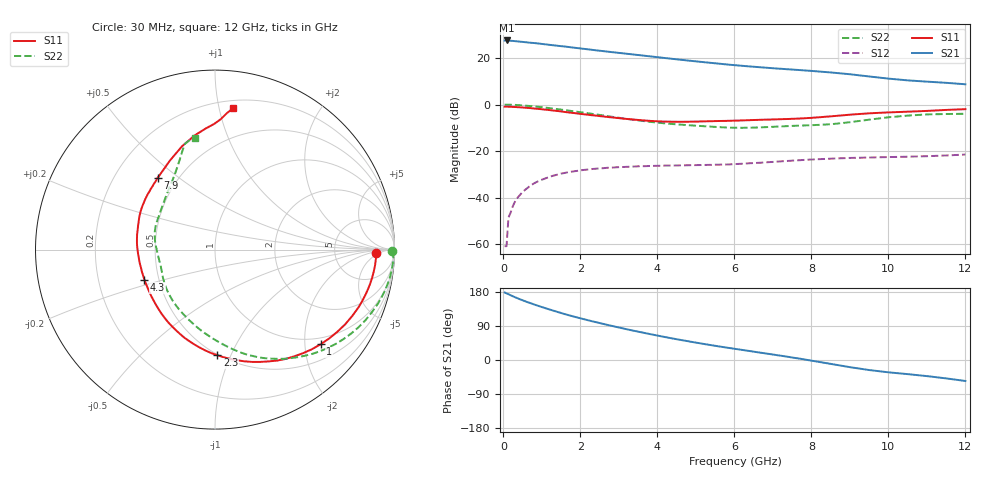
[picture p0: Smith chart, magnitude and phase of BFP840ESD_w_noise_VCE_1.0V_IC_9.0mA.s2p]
! Infineon Technologies  Discrete & RF Semiconductors
! BFP840ESD
! VCE =  1.0 V,  IC =  9.0 mA
! Common Emitter S-Parameters:  May 2012
# GHz  S  MA  R  50
!  f  S11  S21  S12  S22
! GHz  MAG  ANG  MAG  ANG  MAG  ANG  MAG  ANG
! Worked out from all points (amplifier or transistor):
!   93 points, 30 MHz to 12 GHz, reference 50 ohm
!   highest |S21| = 27.5 dB at 80 MHz (marker M1)
!   |S21| within 3 dB of that: start of sweep to 1.784 GHz
!   unconditionally stable (mu >= 1): 5.542 GHz to 10.39 GHz
!   at 1.1 GHz: K = 0.25, MSG = 28.8 dB, |S12| = -31.7 dB
!   at 4.2 GHz: K = 0.79, MSG = 23.1 dB, |S12| = -26.3 dB
!   at 12 GHz: K = 0.77, MSG = 15.1 dB, |S12| = -21.5 dB
!   lowest NFmin = 0.77 dB at 450 MHz
!   S11 on the Smith chart (normalised r, x): 30 MHz: 18, -4; 1 GHz: 0.84, -2.36; 2.3 GHz: 0.49, -0.89; 4.3 GHz: 0.41, -0.17; 7.9 GHz: 0.39, +0.42; 12 GHz: 0.26, +1.10
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0.03  0.8984 -1.3  23.65 178.2  0.0009 93.4  0.9878 -0.5
0.08  0.898 -3.4  23.83 175.8  0.0009 114.2  0.9944 -2.6
0.13  0.8958 -5.8  23.67 173.6  0.0037 88.9  0.9934 -4.7
0.33  0.8805 -14.5  22.92 164.4  0.009 82.1  0.978 -12.3
0.5  0.8627 -21.7  22.17 157.5  0.0133 73.3  0.9567 -18.3
0.8  0.8203 -34.1  20.98 146.4  0.0203 66.5  0.9093 -28.4
1  0.7901 -41.9  20.05 139.7  0.0242 61.5  0.8733 -34.7
1.3  0.7413 -53.3  18.75 130.1  0.0296 54.8  0.8158 -43.8
1.6  0.6903 -64.5  17.64 120.9  0.0339 48.9  0.7571 -52.3
2.1  0.6151 -82.0  15.69 107.4  0.0393 39.9  0.6653 -65.4
2.3  0.5882 -88.8  14.99 102.3  0.041 37.4  0.6301 -70.3
2.7  0.5408 -102.3  13.72 92.7  0.0436 32.3  0.5638 -79.9
3.2  0.4897 -119.4  12.34 81.2  0.0457 27.2  0.4917 -92.2
4.1  0.4317 -150.3  10.19 62.5  0.0482 20.5  0.4001 -116.4
4.3  0.4278 -156.8  9.766 58.6  0.0487 19.4  0.3865 -121.9
5.2  0.4339 177.8  8.143 42.4  0.0501 16.1  0.3418 -144.0
6.1  0.4519 160.4  6.903 28.2  0.0528 15.5  0.3163 -164.9
7.9  0.5112 128.8  5.353 0.0  0.065 9.1  0.3567 157.5
8.5  0.5559 116.9  4.893 -10.2  0.0685 5.6  0.376 142.5
9.5  0.6466 100.0  4.007 -26.5  0.0725 -1.2  0.4722 118.5
10.5  0.7007 90.3  3.304 -37.3  0.0755 -6.4  0.5773 108.4
12  0.794 82.6  2.722 -55.4  0.084 -12.4  0.6321 99.9
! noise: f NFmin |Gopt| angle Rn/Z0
0.45  0.77  0.3  2  0.14
0.9  0.78  0.3  5  0.14
1.5  0.79  0.3  11  0.13
1.9  0.8  0.3  15  0.13
2.4  0.81  0.25  26  0.12
3.5  0.82  0.17  58  0.1
5.5  0.9  0.11  136  0.1
8  1.05  0.3  -130  0.1
10  1.2  0.46  -91  0.18
12  1.41  0.6  -72  0.27
